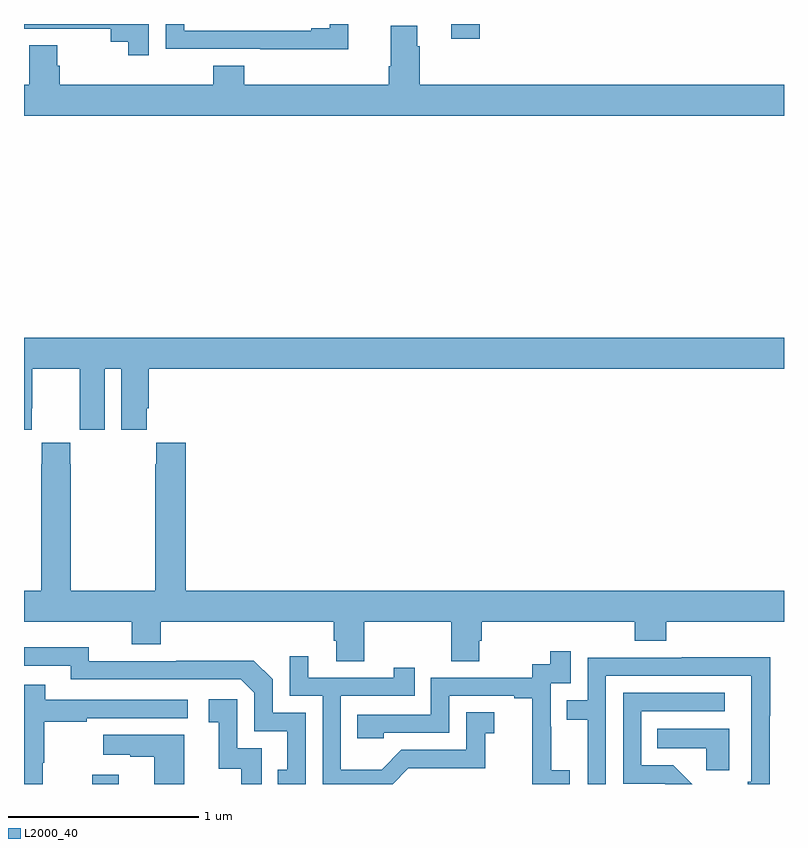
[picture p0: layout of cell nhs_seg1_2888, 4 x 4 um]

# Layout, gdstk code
import gdstk
lib = gdstk.Library(unit=1e-6, precision=1e-09)
def R(c, l, rs):  # rectangles x0, y0, x1, y1
    for r in rs: c.add(gdstk.rectangle(r[:2], r[2:], *l))
def P(c, l, *ps):  # polygons
    for p in ps: c.add(gdstk.Polygon(p, *l))
L2000_40 = (2000, 40)

nhs_seg1_2888 = lib.new_cell('nhs_seg1_2888')
R(nhs_seg1_2888, L2000_40, [(267.359,564.199,267.499,564.247), (269.249,568.122,269.398,568.199)])
P(nhs_seg1_2888, L2000_40, [(268.707,568.199),(268.608,568.199),(268.608,568.177),(268.511,568.177),(268.511,568.164),(267.843,568.164),(267.843,568.199),(267.747,568.199),(267.747,568.068),(268.243,568.068),(268.243,568.067),(268.707,568.067)],
  [(267.657,568.199),(267,568.199),(267,568.173),(267.456,568.173),(267.456,568.105),(267.549,568.105),(267.549,568.035),(267.657,568.035)],
  [(271,567.88),(269.084,567.88),(269.084,568.082),(269.071,568.082),(269.071,568.189),(268.931,568.189),(268.931,567.976),(268.919,567.976),(268.919,567.88),(268.16,567.88),(268.16,567.979),(267.995,567.979),(267.995,567.88),(267.188,567.88),(267.188,567.978),(267.175,567.978),(267.175,568.088),(267.028,568.088),(267.028,567.88),(267,567.88),(267,567.716),(271,567.716)],
  [(267.042,566.176),(267.043,566.176),(267.043,566.384),(267.293,566.384),(267.293,566.176),(267.294,566.176),(267.294,566.064),(267.424,566.064),(267.424,566.384),(267.512,566.384),(267.512,566.064),(267.646,566.064),(267.646,566.176),(267.656,566.176),(267.656,566.384),(271,566.384),(271,566.548),(267,566.548),(267,566.064),(267.042,566.064)],
  [(268.791,565.052),(269.248,565.052),(269.248,564.844),(269.395,564.844),(269.395,564.954),(269.408,564.954),(269.408,565.052),(270.215,565.052),(270.215,564.953),(270.38,564.953),(270.38,565.052),(271,565.052),(271,565.216),(267.851,565.216),(267.851,565.996),(267.697,565.996),(267.697,565.883),(267.691,565.883),(267.691,565.216),(267.246,565.216),(267.246,565.883),(267.243,565.883),(267.243,565.996),(267.093,565.996),(267.093,565.883),(267.091,565.883),(267.091,565.216),(267,565.216),(267,565.052),(267.566,565.052),(267.566,564.935),(267.719,564.935),(267.719,565.052),(268.631,565.052),(268.631,564.954),(268.643,564.954),(268.643,564.844),(268.791,564.844)],
  [(268.482,564.573),(268.308,564.573),(268.308,564.75),(268.21,564.848),(267.802,564.848),(267.802,564.846),(267.342,564.846),(267.342,564.919),(267,564.919),(267,564.822),(267.246,564.822),(267.246,564.75),(268.14,564.75),(268.212,564.678),(268.212,564.477),(268.385,564.477),(268.385,564.273),(268.336,564.273),(268.336,564.199),(268.482,564.199)],
  [(269.872,564.271),(269.774,564.271),(269.774,564.5),(269.772,564.5),(269.772,564.729),(269.877,564.729),(269.877,564.898),(269.769,564.898),(269.769,564.828),(269.676,564.828),(269.676,564.759),(269.142,564.759),(269.142,564.564),(268.753,564.564),(268.753,564.441),(268.893,564.441),(268.893,564.468),(269.238,564.468),(269.238,564.663),(269.579,564.663),(269.579,564.651),(269.675,564.651),(269.675,564.367),(269.674,564.367),(269.674,564.199),(269.872,564.199)],
  [(269.023,564.282),(269.427,564.282),(269.427,564.467),(269.476,564.467),(269.476,564.577),(269.328,564.577),(269.328,564.378),(268.986,564.378),(268.882,564.274),(268.668,564.274),(268.668,564.663),(269.057,564.663),(269.057,564.811),(268.946,564.811),(268.946,564.759),(268.495,564.759),(268.495,564.871),(268.398,564.871),(268.398,564.663),(268.572,564.663),(268.572,564.199),(268.94,564.199)],
  [(270.063,564.768),(270.828,564.768),(270.828,564.21),(270.809,564.21),(270.809,564.199),(270.924,564.199),(270.924,564.559),(270.927,564.559),(270.927,564.866),(270.463,564.866),(270.463,564.864),(269.967,564.864),(269.967,564.639),(269.857,564.639),(269.857,564.538),(269.967,564.538),(269.967,564.199),(270.063,564.199)],
  [(267.098,564.312),(267.106,564.312),(267.106,564.526),(267.329,564.526),(267.329,564.546),(267.862,564.546),(267.862,564.642),(267.113,564.642),(267.113,564.721),(267,564.721),(267,564.199),(267.098,564.199)],
  [(270.418,564.297),(270.249,564.297),(270.249,564.582),(270.688,564.582),(270.688,564.678),(270.153,564.678),(270.153,564.201),(270.372,564.201),(270.374,564.199),(270.516,564.199)],
  [(268.251,564.387),(268.122,564.387),(268.122,564.646),(267.972,564.646),(267.972,564.525),(268.025,564.525),(268.025,564.279),(268.143,564.279),(268.143,564.199),(268.251,564.199)],
  [(270.712,564.49),(270.334,564.49),(270.334,564.386),(270.591,564.386),(270.591,564.271),(270.712,564.271)],
  [(267.844,564.457),(267.417,564.457),(267.417,564.353),(267.56,564.353),(267.56,564.343),(267.686,564.343),(267.686,564.199),(267.844,564.199)])

lib.write_gds('nhs_seg1_2888.gds')
